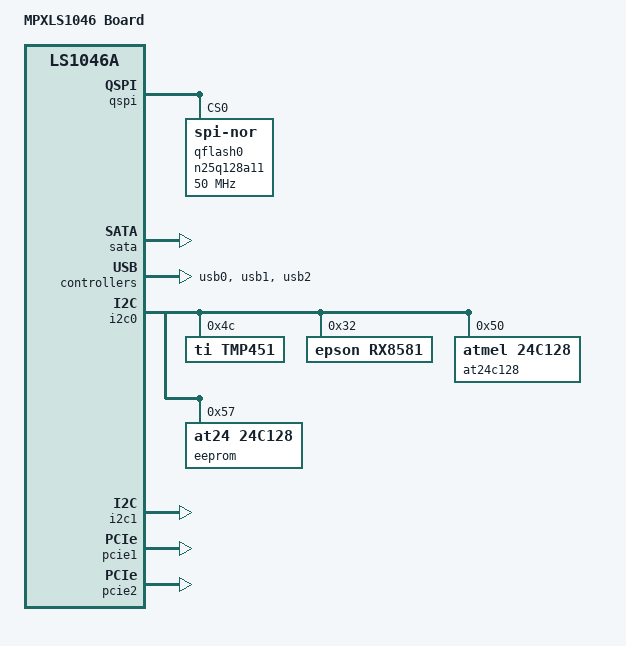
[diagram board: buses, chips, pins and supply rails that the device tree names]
/*
 * Device Tree Include file for Freescale Layerscape-1046A family SoC.
 *
 * Copyright 2016, Freescale Semiconductor
 * Copyright (C) 2019-2021 MicroSys Electronics GmbH
 *
 * Mingkai Hu <Mingkai.hu@freescale.com>
 *
 * This file is licensed under the terms of the GNU General Public
 * License version 2.  This program is licensed "as is" without any
 * warranty of any kind, whether express or implied.
 */

/dts-v1/;
/include/ "fsl-ls1046a.dtsi"

/ {
	model = "MPXLS1046 Board";

	aliases {
		spi0 = &qspi;
	};

};

&soc {
		gpio0: gpio@2300000 {
			compatible = "fsl,fsl,pq3-gpio";
			reg = <0x0 0x2300000 0x0 0x10000>;
			gpio-controller;
			#gpio-cells = <2>;
		};

		gpio1: gpio@2310000 {
			compatible = "fsl,fsl,pq3-gpio";
			reg = <0x0 0x2310000 0x0 0x10000>;
			gpio-controller;
			#gpio-cells = <2>;
		};

		gpio2: gpio@2320000 {
			compatible = "fsl,fsl,pq3-gpio";
			reg = <0x0 0x2320000 0x0 0x10000>;
			gpio-controller;
			#gpio-cells = <2>;
		};

		gpio3: gpio@2330000 {
			compatible = "fsl,fsl,pq3-gpio";
			reg = <0x0 0x2330000 0x0 0x10000>;
			gpio-controller;
			#gpio-cells = <2>;
		};
};

&qspi {
	bus-num = <0>;
	status = "okay";

	qflash0: n25q128a11@0 {
		#address-cells = <1>;
		#size-cells = <1>;
		compatible = "jedec,spi-nor";
		spi-max-frequency = <50000000>;
		reg = <0>;
	};
};

&sata {
	status = "okay";
};

&usb0 {
	status = "okay";
};

&usb1 {
	status = "okay";
};

&usb2 {
	status = "okay";
};

&i2c0 {
    status = "okay";
    u-boot,dm-pre-reloc;

    tmp451: temp@4c {
        compatible = "ti,tmp451";
        reg = <0x4c>;
        u-boot,i2c-offset-len = <1>; /* one address byte */
    };

    rx8581: rtc@32 {
		compatible = "epson,rx8581";
		reg = <0x32>;
        u-boot,i2c-offset-len = <1>; /* one address byte */
    };

    at24c128: eeprom@54 {
        compatible = "atmel,24c128";
        reg = <0x50>;
        u-boot,i2c-offset-len = <2>; /* two address bytes */
        write-page-size = <64>;
        page-write-delay = <5000>; /* 5ms delay when writing */
        max-speed = <400000>;
    };

   eeprom@57 {
	compatible = "at24,24c128";
	reg = <0x57>;
	u-boot,i2c-offset-len = <2>; /* two address bytes */
	write-page-size = <64>;
	page-write-delay = <5000>; /* 5ms delay when writing */
        max-speed = <400000>;
};

};
&i2c1 {
	status = "okay";
};

&pcie1 {
	status = "okay";
};

&pcie2 {
	status = "okay";
};
